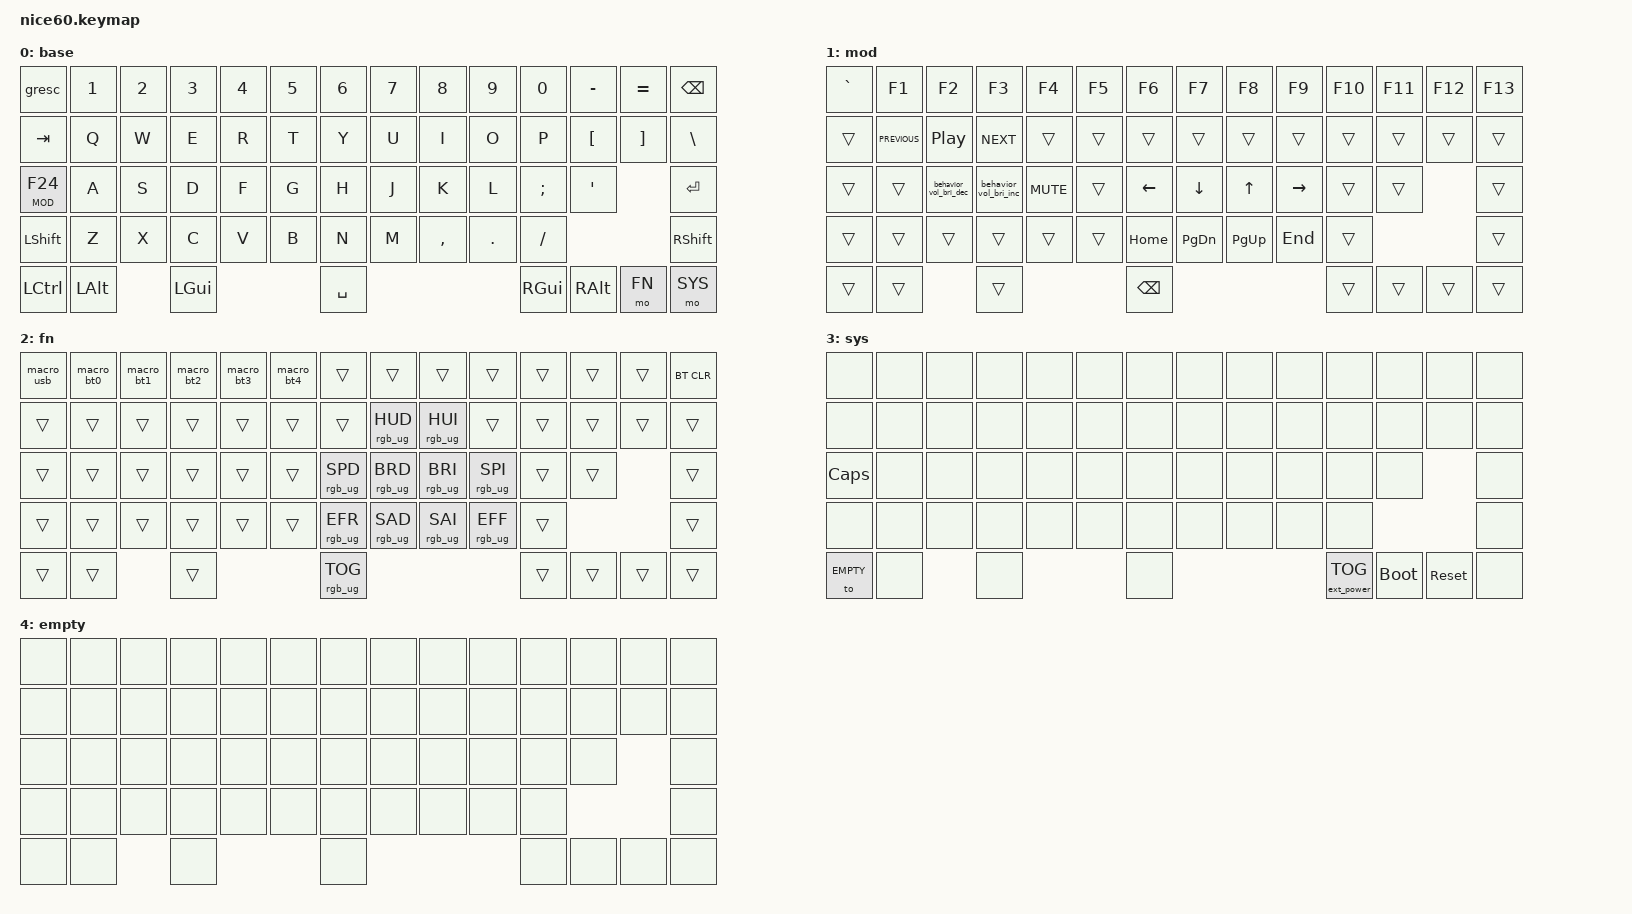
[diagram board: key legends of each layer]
#include <dt-bindings/zmk/reset.h>
#include <behaviors.dtsi>
#include <dt-bindings/zmk/bt.h>
#include <dt-bindings/zmk/ext_power.h>
#include <dt-bindings/zmk/keys.h>
#include <dt-bindings/zmk/outputs.h>
#include <dt-bindings/zmk/rgb.h>

// Layer - https://zmk.dev/docs/behaviors/layers
// order matters, match the order of keymap layers
#define BASE 0
#define MOD 1
#define FN 2
#define SYS 3
#define EMPTY 4

// https://zmk.dev/docs/keymaps/behaviors/hold-tap#comparison-to-qmk
&lt {
    flavor = "hold-preferred";
};

/ {
    combos {
        compatible = "zmk,combos";

        combo_exit_empty {
            bindings = <&to BASE>;
            key-positions = <0 53 13 60>;
            layers = <EMPTY>;
        };
    };

    macros {
        macro_usb: usb {
            compatible = "zmk,behavior-macro";
            #binding-cells = <0>;
            bindings =
                <&macro_tap>,
                <&out OUT_USB &rgb_ug RGB_COLOR_HSB(0,100,100) &rgb_ug RGB_ON>;
        };

        macro_bt0: bt0 {
            compatible = "zmk,behavior-macro";
            #binding-cells = <0>;
            bindings =
                <&macro_tap>,
                <&out OUT_BLE &bt BT_SEL 0 &rgb_ug RGB_COLOR_HSB(60,100,100) &rgb_ug RGB_ON>;
        };

        macro_bt1: bt1 {
            compatible = "zmk,behavior-macro";
            #binding-cells = <0>;
            bindings =
                <&macro_tap>,
                <&out OUT_BLE &bt BT_SEL 1 &rgb_ug RGB_COLOR_HSB(120,100,100) &rgb_ug RGB_ON>;
        };

        macro_bt2: bt2 {
            compatible = "zmk,behavior-macro";
            #binding-cells = <0>;
            bindings =
                <&macro_tap>,
                <&out OUT_BLE &bt BT_SEL 2 &rgb_ug RGB_COLOR_HSB(180,100,100) &rgb_ug RGB_ON>;
        };

        macro_bt3: bt3 {
            compatible = "zmk,behavior-macro";
            #binding-cells = <0>;
            bindings =
                <&macro_tap>,
                <&out OUT_BLE &bt BT_SEL 3 &rgb_ug RGB_COLOR_HSB(240,100,100) &rgb_ug RGB_ON>;
        };

        macro_bt4: bt4 {
            compatible = "zmk,behavior-macro";
            #binding-cells = <0>;
            bindings =
                <&macro_tap>,
                <&out OUT_BLE &bt BT_SEL 4 &rgb_ug RGB_COLOR_HSB(300,100,100) &rgb_ug RGB_ON>;
        };

        macro_bri_inc: bri_inc {
            compatible = "zmk,behavior-macro";
            #binding-cells = <0>;
            bindings =
                <&macro_release &kp LGUI>,
                <&macro_wait_time 30>,
                <&macro_press &kp C_BRIGHTNESS_INC>,
                <&macro_pause_for_release>,
                <&macro_release &kp C_BRIGHTNESS_INC>;
        };

        macro_bri_dec: bri_dec {
            compatible = "zmk,behavior-macro";
            #binding-cells = <0>;
            bindings =
                <&macro_release &kp LGUI>,
                <&macro_wait_time 30>,
                <&macro_press &kp C_BRIGHTNESS_DEC>,
                <&macro_pause_for_release>,
                <&macro_release &kp C_BRIGHTNESS_DEC>;
        };
    };

    behaviors {
        behavior_vol_bri_inc: vol_bri_inc {
            compatible = "zmk,behavior-mod-morph";
            label = "BEHAVIOR_VOL_BRI_INC";
            bindings = <&kp C_VOLUME_UP>, <&macro_bri_inc>;

            #binding-cells = <0>;
            mods = <(MOD_LGUI)>;
        };

        behavior_vol_bri_dec: vol_bri_dec {
            compatible = "zmk,behavior-mod-morph";
            label = "BEHAVIOR_VOL_BRI_DEC";
            bindings = <&kp K_VOLUME_DOWN>, <&macro_bri_dec>;

            #binding-cells = <0>;
            mods = <(MOD_LGUI)>;
        };
    };

    keymap {
        compatible = "zmk,keymap";

        base {
            bindings = <
&gresc       &kp N1    &kp N2  &kp N3    &kp N4  &kp N5  &kp N6     &kp N7  &kp N8     &kp N9   &kp N0    &kp MINUS  &kp EQUAL  &kp BSPC
&kp TAB      &kp Q     &kp W   &kp E     &kp R   &kp T   &kp Y      &kp U   &kp I      &kp O    &kp P     &kp LBKT   &kp RBKT   &kp BSLH
&lt MOD F24  &kp A     &kp S   &kp D     &kp F   &kp G   &kp H      &kp J   &kp K      &kp L    &kp SEMI  &kp SQT               &kp RET
&kp LSHFT    &kp Z     &kp X   &kp C     &kp V   &kp B   &kp N      &kp M   &kp COMMA  &kp DOT  &kp FSLH                        &kp RSHFT
&kp LCTRL    &kp LALT          &kp LGUI                  &kp SPACE                              &kp RGUI  &kp RALT   &mo FN     &mo SYS
            >;
        };

        mod {
            bindings = <
&kp GRAVE  &kp F1          &kp F2                 &kp F3                 &kp F4      &kp F5  &kp F6         &kp F7         &kp F8       &kp F9     &kp F10  &kp F11  &kp F12  &kp F13
&trans     &kp C_PREVIOUS  &kp C_PLAY_PAUSE       &kp C_NEXT             &trans      &trans  &trans         &trans         &trans       &trans     &trans   &trans   &trans   &trans
&trans     &trans          &behavior_vol_bri_dec  &behavior_vol_bri_inc  &kp C_MUTE  &trans  &kp LEFT       &kp DOWN       &kp UP       &kp RIGHT  &trans   &trans            &trans
&trans     &trans          &trans                 &trans                 &trans      &trans  &kp HOME       &kp PAGE_DOWN  &kp PAGE_UP  &kp END    &trans                     &trans
&trans     &trans                                 &trans                                     &kp BACKSPACE                                         &trans   &trans   &trans   &trans
            >;
        };

        fn {
            bindings = <
&macro_usb  &macro_bt0  &macro_bt1  &macro_bt2  &macro_bt3  &macro_bt4  &trans           &trans           &trans           &trans           &trans  &trans  &trans  &bt BT_CLR
&trans      &trans      &trans      &trans      &trans      &trans      &trans           &rgb_ug RGB_HUD  &rgb_ug RGB_HUI  &trans           &trans  &trans  &trans  &trans
&trans      &trans      &trans      &trans      &trans      &trans      &rgb_ug RGB_SPD  &rgb_ug RGB_BRD  &rgb_ug RGB_BRI  &rgb_ug RGB_SPI  &trans  &trans          &trans
&trans      &trans      &trans      &trans      &trans      &trans      &rgb_ug RGB_EFR  &rgb_ug RGB_SAD  &rgb_ug RGB_SAI  &rgb_ug RGB_EFF  &trans                  &trans
&trans      &trans                  &trans                              &rgb_ug RGB_TOG                                                     &trans  &trans  &trans  &trans
            >;
        };

        sys {
            bindings = <
&none         &none  &none  &none  &none  &none  &none  &none  &none  &none  &none              &none        &none       &none
&none         &none  &none  &none  &none  &none  &none  &none  &none  &none  &none              &none        &none       &none
&kp CAPSLOCK  &none  &none  &none  &none  &none  &none  &none  &none  &none  &none              &none                    &none
&none         &none  &none  &none  &none  &none  &none  &none  &none  &none  &none                                       &none
&to EMPTY     &none         &none                &none                       &ext_power EP_TOG  &bootloader  &sys_reset  &none
            >;
        };

        empty {
            bindings = <
&none  &none  &none  &none  &none  &none  &none  &none  &none  &none  &none  &none  &none  &none
&none  &none  &none  &none  &none  &none  &none  &none  &none  &none  &none  &none  &none  &none
&none  &none  &none  &none  &none  &none  &none  &none  &none  &none  &none  &none         &none
&none  &none  &none  &none  &none  &none  &none  &none  &none  &none  &none                &none
&none  &none         &none                &none                       &none  &none  &none  &none
            >;
        };
    };
};
